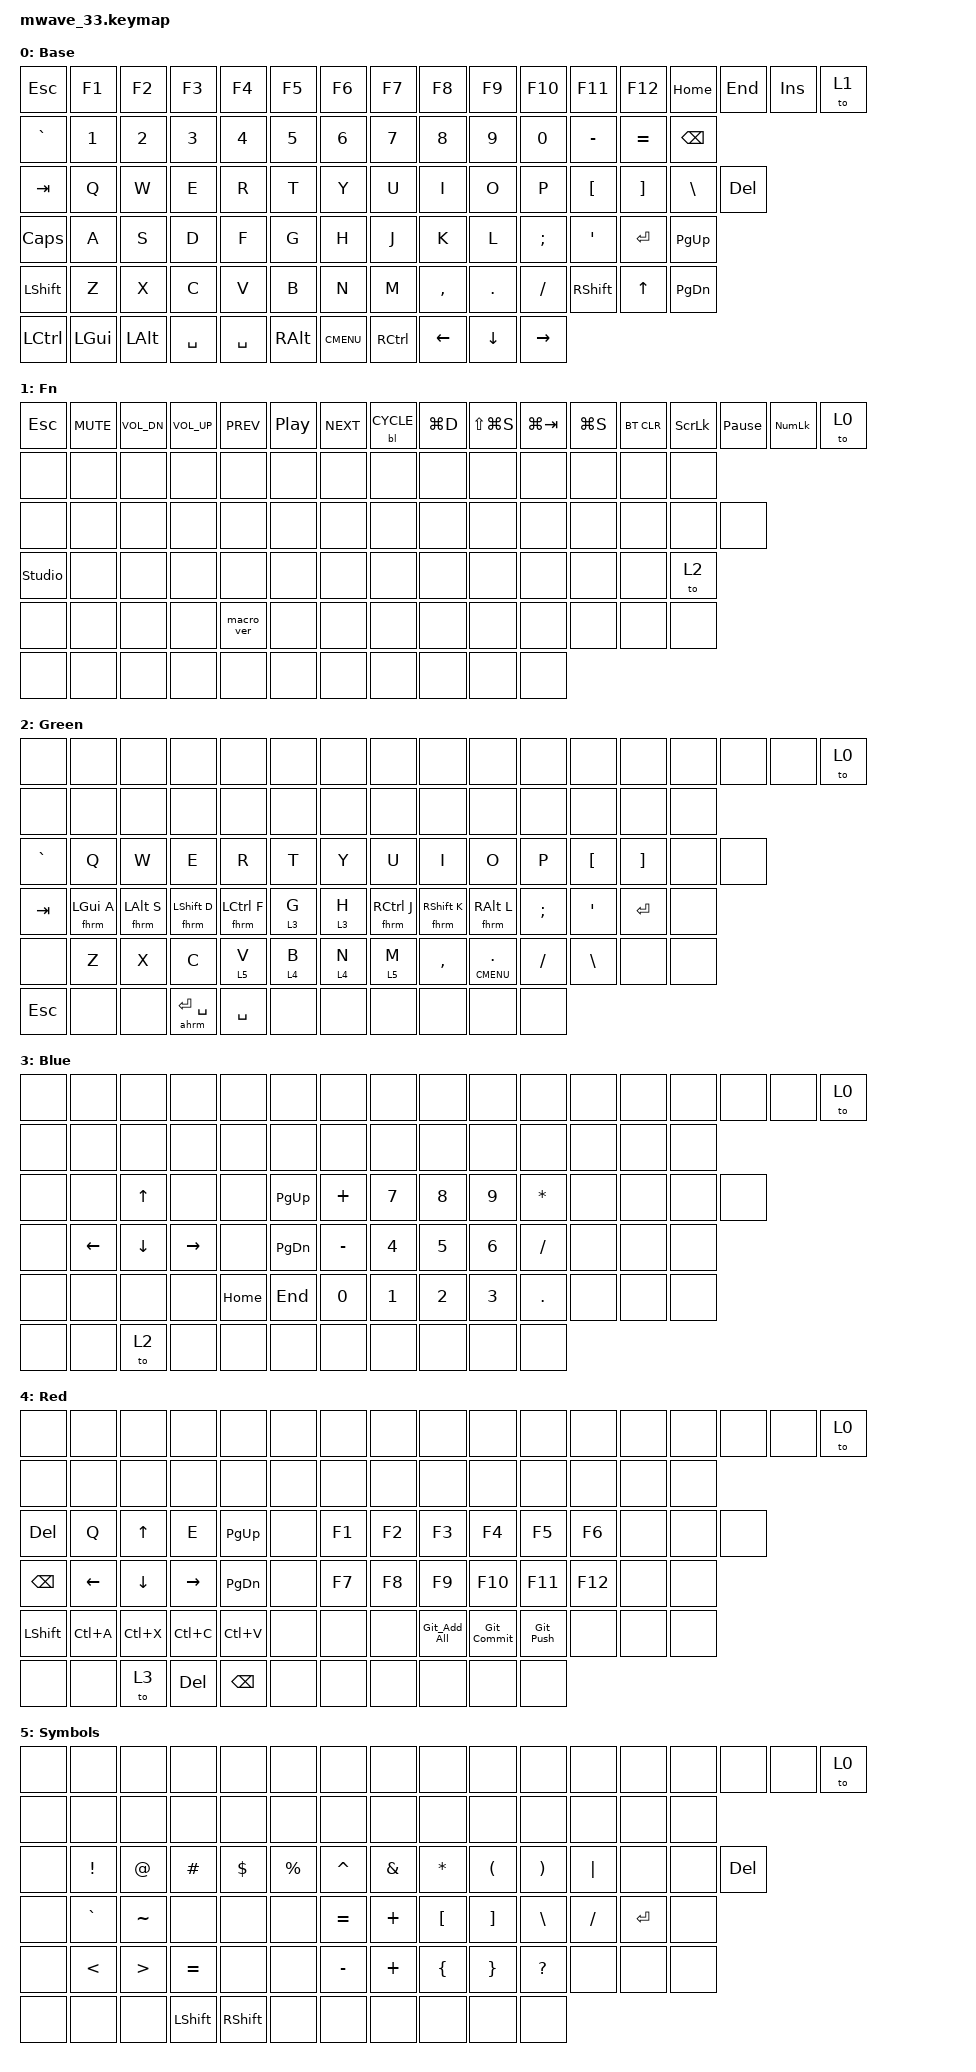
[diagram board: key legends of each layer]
#include <behaviors.dtsi>
#include <dt-bindings/zmk/backlight.h>
#include <dt-bindings/zmk/bt.h>
#include <dt-bindings/zmk/keys.h>
#include <dt-bindings/zmk/pointing.h>
#include <dt-bindings/zmk/outputs.h>
#include <dt-bindings/advertising_mode.h>
#include <behaviors/advertising_mode.dtsi>
#include <behaviors/stp_indicators.dtsi>
#include "studio-macros.dtsi"   



/ {
    #include "mwave_prim.dtsi"

    keymap {
        compatible = "zmk,keymap";

        default_layer { // layer 0
            display-name = "Base";

            // -------------------------------------------------------------------------------------------------------
            // | ESC | F1  | F2  | F3  | F4  | F5  | F6  | | F7  | F8  | F9  | F10 | F11 | F12 |HOME| END |PSCN|  1  | 
            // |GRAVE|  1  |  2  |  3  |  4  |  5  |  6  | |   7   |  8  |  9  |  0  |  -  |  =  |    BKSP     | DEL |
            // | TAB    |  Q  |  W  |  E  |  R  |   T    | |   Y  |  U  |  I  |  O  |  P  |  [  |  ]  |   \    |     |
            // | CAPS     |  A  |  S  |  D  |  F  |  G   | |  H    |  J  |  K  |  L  |  ;  |  '  |    ENTER    | PGUP|
            // |   SHIFT   |  Z  |  X  |  C  |  V  |  B  | |    N    |  M  |  ,  |  .  |  /  |   SHIFT   | UP  | PGDN|
            // |  CTL  |  WIN  |  ALT  |      SPACE      | |      SPACE        | ALT | MENU |RCTRL| LEFT| DOWN |RIGHT|
            // -------------------------------------------------------------------------------------------------------

                    
                    // Key Positions Reference mwave33 
            //---------------------------------------------------------------------------------
            //Pos	Key	    Pos	Key	    Pos	Key	    Pos	Key	    Pos	Key	    Pos	Key	    Pos	Key
            //---------------------------------------------------------------------------------
            //	0	ESC	    1	F1	    2	F2	    3	F3	    4	F4	    5	F5	    6	F6
            //	7	F7	    8	F8	    9	F9	    10	F10	    11	F11	    12	F12	    13	HOME
            //	14	END	    15	INSERT	16	to 1	17	GRAVE	18	1	    19	2	    20	3
            //	21	4	    22	5	    23	6	    24	7	    25	8	    26	9	    27	0
            //	28	MINUS	29	EQUAL	30	BSPC	31	TAB	    32	Q	    33	W	    34	E
            //	35	R	    36	T	    37	Y	    38	U	    39	I	    40	O	    41	P
            //	42	LBKT	43	RBKT	44	BSLH	45	DEL	    46	CLCK	47	A	    48	S
            //	49	D	    50	F	    51	G	    52	H	    53	J	    54	K	    55	L
            //	56	SEMI	57	SQT	    58	RET	    59	PG_UP	60	LSHFT	61	Z	    62	X
            //	63	C	    64	V	    65	B	    66	N	    67	M	    68	COMMA	69	DOT
            //	70	FSLH	71	RSHFT	72	UP	    73	PG_DN	74	LCTRL	75	LGUI	76	LALT
            //	77	SPACE	78	SPACE	79	RALT	80	K_CMENU	81	RCTRL	82	LEFT	83	DOWN
            //	84	RIGHT												
            //----------------------------------------------------------------------------------
        

            bindings = <
                &kp ESC    &kp F1    &kp F2    &kp F3     &kp F4     &kp F5    &kp F6       &kp F7     &kp F8     &kp F9    &kp F10    &kp F11    &kp F12    &kp HOME   &kp END  &kp INSERT  &to 1
                &kp GRAVE  &kp N1    &kp N2    &kp N3     &kp N4     &kp N5    &kp N6       &kp N7     &kp N8     &kp N9    &kp N0     &kp MINUS  &kp EQUAL  &kp BSPC
                &kp TAB    &kp Q     &kp W     &kp E      &kp R      &kp T     &kp Y        &kp U      &kp I      &kp O     &kp P      &kp LBKT   &kp RBKT   &kp BSLH   &kp DEL
                &kp CLCK   &kp A     &kp S     &kp D      &kp F      &kp G     &kp H        &kp J      &kp K      &kp L     &kp SEMI   &kp SQT    &kp RET    &kp PG_UP
                &kp LSHFT  &kp Z     &kp X     &kp C      &kp V      &kp B     &kp N        &kp M      &kp COMMA  &kp DOT   &kp FSLH   &kp RSHFT  &kp UP     &kp PG_DN
                &kp LCTRL  &kp LGUI  &kp LALT  &kp SPACE  &kp SPACE  &kp RALT  &kp K_CMENU  &kp RCTRL  &kp LEFT   &kp DOWN  &kp RIGHT
            >;
        };

        raise { // layer 1
            display-name = "Fn";
            bindings = <
                &kp ESCAPE      &kp C_MUTE  &kp C_VOL_DN  &kp C_VOL_UP  &kp C_PREV  &kp C_PP  &kp C_NEXT  &bl BL_CYCLE  &kp LG(D)  &kp LS(LG(S))  &kp LG(TAB)  &kp LG(S)  &bt BT_CLR  &kp SCROLLLOCK  &kp PAUSE_BREAK  &kp KP_NUMLOCK  &to 0
                &none           &none       &none         &none         &none       &none     &none       &none         &none      &none          &none        &none      &none       &none
                &none           &none       &none         &none         &none       &none     &none       &none         &none      &none          &none        &none      &none       &none           &none
                &studio_unlock  &none       &none         &none         &none       &none     &none       &none         &none      &none          &none        &none      &none       &to 2
                &none           &none       &none         &none         &macro_ver  &none     &none       &none         &none      &none          &none        &none      &none       &none
                &none           &none       &none         &none         &none       &none     &none       &none         &none      &none          &none
            >;
        };


        extra1 {  // layer 2  mod layer   G A S C  C S A G 
            display-name = "Green";
            bindings = <
                &none      &none          &none          &none            &none          &none    &none    &none          &none           &none             &none         &none     &none     &none  &none  &none  &to 0
                &none      &none          &none          &none            &none          &none    &none    &none          &none           &none             &none         &none     &none     &none
                &kp GRAVE  &kp Q          &kp W          &kp E            &kp R          &kp T    &kp Y    &kp U          &kp I           &kp O             &kp P         &kp LBKT  &kp RBKT  &none  &none
                &kp TAB    &fhrm LGUI A   &fhrm LALT S   &fhrm LSHFT D    &fhrm LCTRL F  &lt 3 G  &lt 3 H  &fhrm RCTRL J  &fhrm RSHFT K   &fhrm RALT L      &kp SEMI      &kp SQT   &kp RET   &none
                &none      &kp Z          &kp X          &kp C            &lt 5 V        &lt 4 B  &lt 4 N  &lt 5 M        &kp COMMA       &hrm K_CMENU DOT  &kp FSLH      &kp BSLH  &none     &none
                &kp ESC    &none          &none          &ahrm RET SPACE  &kp SPACE      &none    &none    &none          &none           &none             &none
            >;
        };

 
        extra2 {
            display-name = "Blue";
            bindings = <
                &none  &none     &none           &none      &none     &none          &none      &none   &none   &none   &none         &none  &none  &none  &none  &none  &to 0
                &none  &none     &none           &none      &none     &none          &none      &none   &none   &none   &none         &none  &none  &none
                &none  &none     &kp UP_ARROW    &none      &none     &kp PG_UP      &kp PLUS   &kp N7  &kp N8  &kp N9  &kp ASTERISK  &none  &none  &none  &none
                &none  &kp LEFT  &kp DOWN_ARROW  &kp RIGHT  &none     &kp PAGE_DOWN  &kp MINUS  &kp N4  &kp N5  &kp N6  &kp SLASH     &none  &none  &none
                &none  &none     &none           &none      &kp HOME  &kp END        &kp N0     &kp N1  &kp N2  &kp N3  &kp PERIOD    &none  &none  &none
                &none  &none     &to 2           &none      &none     &none          &none      &none   &none   &none   &none
            >;
        };

        extra3 {
            display-name = "Red";
            bindings = <
                &none      &none      &none      &none       &none          &none       &none   &none   &none   &none    &none    &none    &none     &none    &none  &none  &to 0
                &none      &none      &none      &none       &none          &none       &none   &none   &none   &none    &none    &none    &none     &none
                &kp DEL    &kp Q      &kp UP     &kp E       &kp PG_UP      &none       &kp F1  &kp F2  &kp F3  &kp F4   &kp F5   &kp F6   &none     &none    &none
                &kp BSPC   &kp LEFT   &kp DOWN   &kp RIGHT   &kp PG_DN      &none       &kp F7  &kp F8  &kp F9  &kp F10  &kp F11  &kp F12  &none     &none
                &kp LSHFT  &kp LC(A)  &kp LC(X)  &kp LC(C)   &kp LC(V)      &none       &none   &none   &Git_Add_All     &Git_Commit    &Git_Push    &none    &none  &none
                &none      &none      &to 3      &kp DELETE  &kp BACKSPACE  &none       &none   &none   &none   &none    &none
            >;
        };

        symbol_layer {
            display-name = "Symbols";
            bindings = <
                &none  &none            &none             &none      &none       &none        &none      &none          &none             &none                 &none                  &none      &none      &none  &none       &none  &to 0
                &none  &none            &none             &none      &none       &none        &none      &none          &none             &none                 &none                  &none      &none      &none
                &none  &kp EXCLAMATION  &kp AT_SIGN       &kp HASH   &kp DOLLAR  &kp PERCENT  &kp CARET  &kp AMPERSAND  &kp ASTERISK      &kp LEFT_PARENTHESIS  &kp RIGHT_PARENTHESIS  &kp PIPE   &none      &none  &kp DELETE
                &none  &kp GRAVE        &kp TILDE         &none      &none       &none        &kp EQUAL  &kp PLUS       &kp LEFT_BRACKET  &kp RIGHT_BRACKET     &kp BACKSLASH          &kp SLASH  &kp ENTER  &none
                &none  &kp LESS_THAN    &kp GREATER_THAN  &kp EQUAL  &none       &none        &kp MINUS  &kp PLUS       &kp LEFT_BRACE    &kp RIGHT_BRACE       &kp QUESTION           &none      &none      &none
                &none  &none            &none             &kp LSHFT  &kp RSHFT   &none        &none      &none          &none             &none                 &none
            >;
        };

    };
}; 
